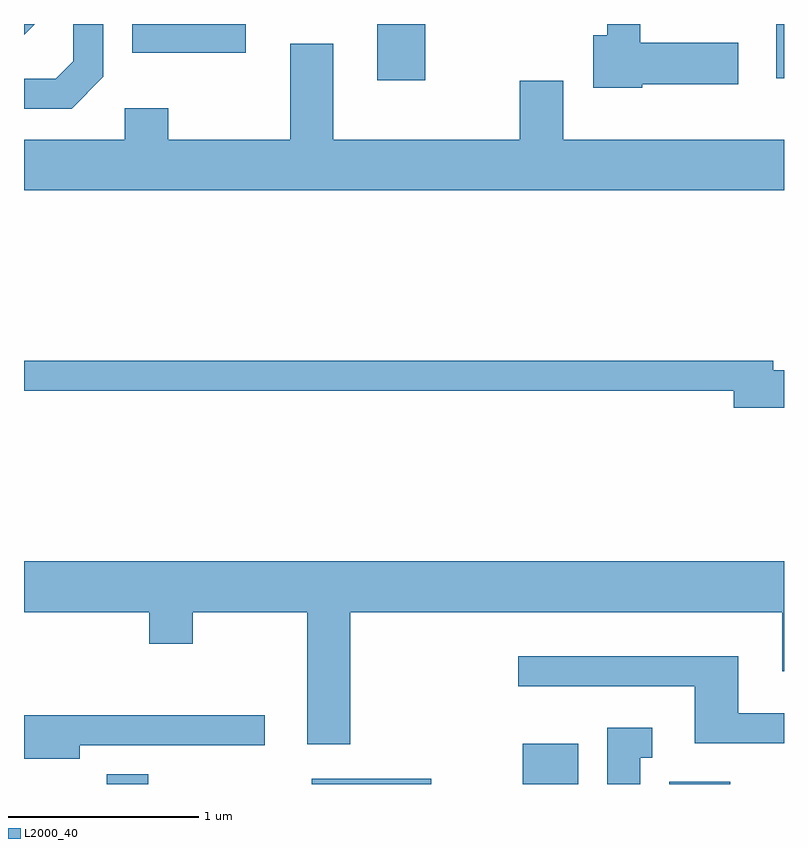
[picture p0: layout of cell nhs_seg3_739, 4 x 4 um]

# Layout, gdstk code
import gdstk
lib = gdstk.Library(unit=1e-6, precision=1e-09)
def R(c, l, rs):  # rectangles x0, y0, x1, y1
    for r in rs: c.add(gdstk.rectangle(r[:2], r[2:], *l))
def P(c, l, *ps):  # polygons
    for p in ps: c.add(gdstk.Polygon(p, *l))
L2000_40 = (2000, 40)

nhs_seg3_739 = lib.new_cell('nhs_seg3_739')
R(nhs_seg3_739, L2000_40, [(206.046,1233.892,206.264,1233.944), (207.126,1233.892,207.754,1233.919), (208.236,1233.892,208.529,1234.104), (209.006,1233.892,209.329,1233.904), (207.471,1237.596,207.724,1237.892), (209.571,1237.606,209.611,1237.892), (206.181,1237.741,206.779,1237.892)])
P(nhs_seg3_739, L2000_40, [(206.029,1237.614),(206.029,1237.892),(205.871,1237.892),(205.871,1237.697),(205.779,1237.604),(205.611,1237.604),(205.611,1237.446),(205.862,1237.446)],
  [(208.864,1237.576),(209.369,1237.576),(209.369,1237.794),(208.854,1237.794),(208.854,1237.892),(208.681,1237.892),(208.681,1237.834),(208.606,1237.834),(208.606,1237.556),(208.864,1237.556)],
  [(205.667,1237.892),(205.611,1237.892),(205.611,1237.835)],
  [(209.611,1237.284),(208.449,1237.284),(208.449,1237.594),(208.221,1237.594),(208.221,1237.284),(207.239,1237.284),(207.239,1237.789),(207.011,1237.789),(207.011,1237.284),(206.369,1237.284),(206.369,1237.449),(206.141,1237.449),(206.141,1237.284),(205.611,1237.284),(205.611,1237.016),(209.611,1237.016)],
  [(209.611,1236.069),(209.554,1236.069),(209.554,1236.119),(205.611,1236.119),(205.611,1235.961),(209.346,1235.961),(209.346,1235.871),(209.611,1235.871)],
  [(207.329,1234.796),(209.601,1234.796),(209.601,1234.486),(209.611,1234.486),(209.611,1235.064),(205.611,1235.064),(205.611,1234.796),(206.271,1234.796),(206.271,1234.631),(206.499,1234.631),(206.499,1234.796),(207.101,1234.796),(207.101,1234.101),(207.329,1234.101)],
  [(209.611,1234.264),(209.369,1234.264),(209.369,1234.564),(208.213,1234.564),(208.213,1234.406),(209.141,1234.406),(209.141,1234.106),(209.611,1234.106)],
  [(205.904,1234.096),(206.878,1234.096),(206.878,1234.254),(205.611,1234.254),(205.611,1234.026),(205.904,1234.026)],
  [(208.854,1234.031),(208.918,1234.031),(208.918,1234.189),(208.681,1234.189),(208.681,1233.892),(208.854,1233.892)])

lib.write_gds('nhs_seg3_739.gds')
